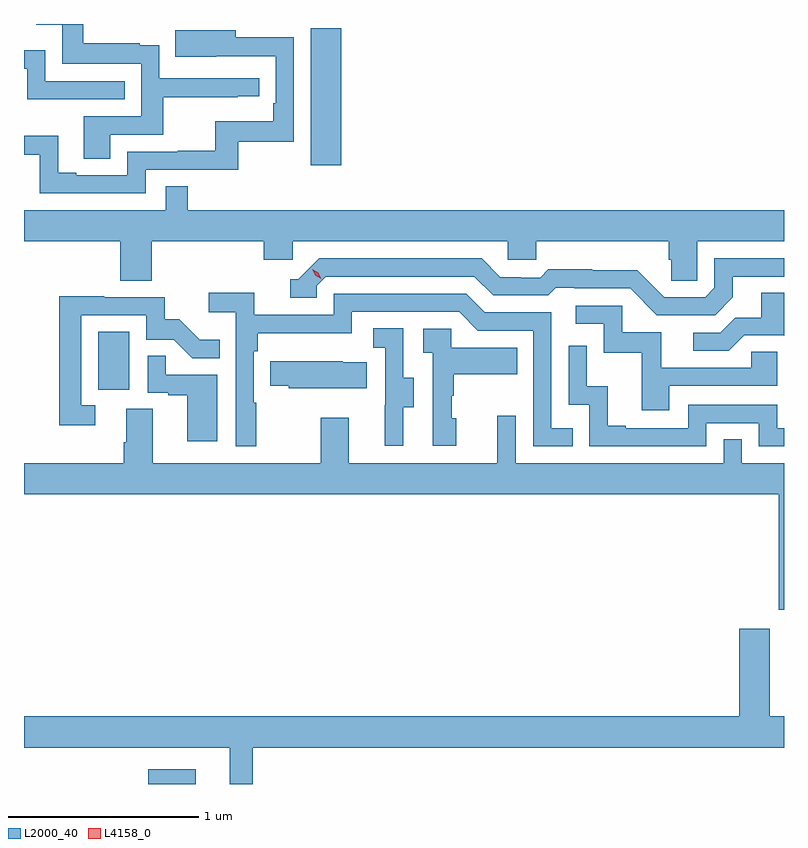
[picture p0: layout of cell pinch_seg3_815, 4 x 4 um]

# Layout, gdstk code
import gdstk
lib = gdstk.Library(unit=1e-6, precision=1e-09)
def R(c, l, rs):  # rectangles x0, y0, x1, y1
    for r in rs: c.add(gdstk.rectangle(r[:2], r[2:], *l))
def P(c, l, *ps):  # polygons
    for p in ps: c.add(gdstk.Polygon(p, *l))
L2000_40 = (2000, 40)
L4158_0 = (4158, 0)

pinch_seg3_815 = lib.new_cell('pinch_seg3_815')
R(pinch_seg3_815, L2000_40, [(880.202,719.372,880.453,719.449), (879.938,721.446,880.102,721.753), (881.057,722.628,881.218,723.349)])
P(pinch_seg3_815, L2000_40, [(880.003,722.79),(880.28,722.79),(880.28,722.986),(880.673,722.986),(880.673,722.991),(880.786,722.991),(880.786,723.087),(880.26,723.087),(880.26,723.259),(880.157,723.259),(880.157,723.271),(879.859,723.271),(879.859,723.372),(879.613,723.372),(879.613,723.368),(879.748,723.368),(879.748,723.162),(880.164,723.162),(880.164,722.886),(879.863,722.886),(879.863,722.662),(880.003,722.662)],
  [(880.188,722.604),(880.675,722.604),(880.675,722.751),(880.968,722.751),(880.968,723.302),(880.663,723.302),(880.663,723.34),(880.345,723.34),(880.345,723.2),(880.559,723.2),(880.559,723.201),(880.872,723.201),(880.872,722.956),(880.859,722.956),(880.859,722.86),(880.554,722.86),(880.554,722.705),(880.357,722.705),(880.357,722.7),(880.092,722.7),(880.092,722.577),(879.823,722.577),(879.823,722.59),(879.727,722.59),(879.727,722.783),(879.548,722.783),(879.548,722.685),(879.63,722.685),(879.63,722.481),(880.188,722.481)],
  [(880.079,723.072),(879.66,723.072),(879.66,723.235),(879.548,723.235),(879.548,723.137),(879.564,723.137),(879.564,722.976),(880.079,722.976)],
  [(880.22,722.228),(880.811,722.228),(880.811,722.13),(880.962,722.13),(880.962,722.228),(882.093,722.228),(882.093,722.13),(882.243,722.13),(882.243,722.228),(882.941,722.228),(882.941,722.13),(882.955,722.13),(882.955,722.02),(883.092,722.02),(883.092,722.228),(883.548,722.228),(883.548,722.392),(880.409,722.392),(880.409,722.519),(880.293,722.519),(880.293,722.392),(879.548,722.392),(879.548,722.228),(880.055,722.228),(880.055,722.02),(880.22,722.02)],
  [(883.279,721.933),(883.279,722.043),(883.548,722.043),(883.548,722.139),(883.182,722.139),(883.182,721.983),(883.134,721.935),(882.918,721.935),(882.776,722.077),(882.54,722.077),(882.54,722.08),(882.307,722.08),(882.265,722.037),(882.162,722.037),(882.162,722.04),(882.055,722.04),(881.956,722.139),(881.103,722.139),(880.992,722.028),(880.949,722.028),(880.949,721.932),(881.088,721.932),(881.088,721.995),(881.136,722.043),(881.919,722.043),(882.018,721.944),(882.307,721.944),(882.346,721.983),(882.445,721.983),(882.445,721.98),(882.738,721.98),(882.879,721.839),(883.185,721.839)],
  [(880.771,721.379),(880.758,721.379),(880.758,721.649),(880.778,721.649),(880.778,721.745),(881.274,721.745),(881.274,721.857),(881.838,721.857),(881.937,721.758),(882.228,721.758),(882.228,721.149),(882.437,721.149),(882.437,721.245),(882.324,721.245),(882.324,721.854),(881.974,721.854),(881.875,721.953),(881.178,721.953),(881.178,721.842),(880.76,721.842),(880.76,721.958),(880.521,721.958),(880.521,721.856),(880.662,721.856),(880.662,721.149),(880.771,721.149)],
  [(883.339,721.734),(883.545,721.734),(883.548,721.731),(883.548,721.958),(883.427,721.958),(883.427,721.826),(883.292,721.826),(883.212,721.746),(883.071,721.746),(883.071,721.653),(883.258,721.653)],
  [(879.922,721.365),(879.849,721.365),(879.849,721.839),(880.191,721.839),(880.191,721.71),(880.335,721.71),(880.433,721.612),(880.577,721.612),(880.577,721.711),(880.473,721.711),(880.366,721.818),(880.29,721.818),(880.29,721.935),(879.971,721.935),(879.971,721.94),(879.733,721.94),(879.733,721.26),(879.922,721.26)],
  [(882.943,721.467),(883.512,721.467),(883.512,721.647),(883.375,721.647),(883.375,721.563),(882.901,721.563),(882.901,721.749),(882.696,721.749),(882.696,721.89),(882.453,721.89),(882.453,721.794),(882.6,721.794),(882.6,721.641),(882.799,721.641),(882.799,721.338),(882.943,721.338)],
  [(881.545,721.354),(881.599,721.354),(881.599,721.509),(881.544,721.509),(881.544,721.772),(881.385,721.772),(881.385,721.669),(881.448,721.669),(881.448,721.365),(881.447,721.365),(881.447,721.152),(881.545,721.152)],
  [(881.824,721.296),(881.799,721.296),(881.799,721.415),(881.809,721.415),(881.809,721.529),(882.143,721.529),(882.143,721.669),(881.796,721.669),(881.796,721.767),(881.649,721.767),(881.649,721.643),(881.7,721.643),(881.7,721.152),(881.824,721.152)],
  [(883.14,721.272),(883.416,721.272),(883.416,721.149),(883.548,721.149),(883.548,721.245),(883.512,721.245),(883.512,721.368),(883.044,721.368),(883.044,721.245),(882.715,721.245),(882.715,721.258),(882.62,721.258),(882.62,721.466),(882.51,721.466),(882.51,721.678),(882.414,721.678),(882.414,721.368),(882.522,721.368),(882.522,721.149),(883.14,721.149)],
  [(880.564,721.527),(880.295,721.527),(880.295,721.625),(880.2,721.625),(880.2,721.431),(880.307,721.431),(880.307,721.419),(880.406,721.419),(880.406,721.176),(880.564,721.176)],
  [(881.351,721.591),(881.226,721.591),(881.226,721.597),(880.843,721.597),(880.843,721.468),(880.941,721.468),(880.941,721.454),(881.351,721.454)],
  [(883.548,721.06),(883.326,721.06),(883.326,721.187),(883.23,721.187),(883.23,721.06),(882.135,721.06),(882.135,721.309),(882.038,721.309),(882.038,721.06),(881.257,721.06),(881.257,721.3),(881.11,721.3),(881.11,721.06),(880.225,721.06),(880.225,721.346),(880.085,721.346),(880.085,721.172),(880.073,721.172),(880.073,721.06),(879.548,721.06),(879.548,720.896),(883.52,720.896),(883.52,720.29),(883.548,720.29)],
  [(880.753,719.564),(883.548,719.564),(883.548,719.728),(883.473,719.728),(883.473,720.19),(883.313,720.19),(883.313,719.728),(879.548,719.728),(879.548,719.564),(880.631,719.564),(880.631,719.372),(880.753,719.372)])
P(pinch_seg3_815, L4158_0, [(881.113,722.03),(881.082,722.049),(881.065,722.081),(881.065,722.081),(881.065,722.081),(881.096,722.062),(881.113,722.03),(881.113,722.03)])

lib.write_gds('pinch_seg3_815.gds')
